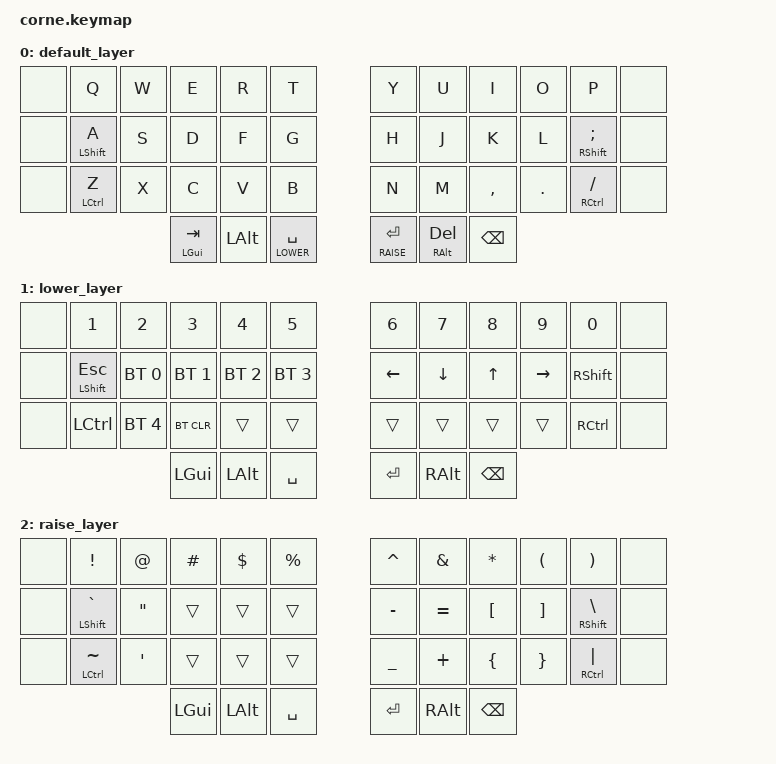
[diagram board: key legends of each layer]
/*
 * Copyright (c) 2020 The ZMK Contributors
 *
 * SPDX-License-Identifier: MIT
 */

#include <behaviors.dtsi>
#include <dt-bindings/zmk/keys.h>
#include <dt-bindings/zmk/bt.h>

// &mt HOLD TAP

#define DEFAULT 0
#define LOWER   1
#define RAISE   2

/ {
        keymap {
                compatible = "zmk,keymap";

                default_layer {
// --------------------------------------------------------------------------------
// |      |  Q  |  W  |  E  |  R  |  T  |   |  Y  |  U   |  I  |  O  |  P  |      |
// |      |  A  |  S  |  D  |  F  |  G  |   |  Z  |  J   |  K  |  L  |  ;  |      |
// |      |  Z  |  X  |  C  |  V  |  B  |   |  N  |  M   |  ,  |  .  |  /  |      |
//                    | GUI | ALT | SPC |   | ENT | ALT  | FN |
                        bindings = <
   &none &kp Q        &kp W &kp E        &kp R     &kp T              &kp Y         &kp U        &kp I         &kp O   &kp P                &none
   &none &mt LSHIFT A &kp S &kp D        &kp F     &kp G              &kp H         &kp J        &kp K         &kp L   &mt RSHIFT SEMI      &none
   &none &mt LCTRL  Z &kp X &kp C        &kp V     &kp B              &kp N         &kp M        &kp COMMA     &kp DOT &mt RCTRL  FSLH      &none
                            &mt LGUI TAB &kp LALT  &lt LOWER SPACE    &lt RAISE RET &mt RALT DEL &kp BSPC
                        >;
                };
                lower_layer {
// -------------------------------------------------------------------------------
// |      |  1  |  2  |  3  |  4  |  5  |   |  6  |  7  |  8  |  9  |  0  |      |
// |      | ESC | BT1 | BT2 | BT3 | BT4 |   | LFT | DWN |  UP | RGT |     |      |
// |      |     | BT5 |BTCLR|     |     |   |     |     |     |     |     |      |
//                    | GUI |     | SPC |   | ENT | ALT | FN  |
                        bindings = <
   &none  &kp N1         &kp N2       &kp N3       &kp N4       &kp N5          &kp N6   &kp N7   &kp N8   &kp N9    &kp N0     &none
   &none  &mt LSHIFT ESC &bt BT_SEL 0 &bt BT_SEL 1 &bt BT_SEL 2 &bt BT_SEL 3    &kp LEFT &kp DOWN &kp UP   &kp RIGHT &kp RSHIFT &none
   &none  &kp LCTRL      &bt BT_SEL 4 &bt BT_CLR   &trans       &trans          &trans   &trans   &trans   &trans    &kp RCTRL  &none
                                      &kp LGUI     &kp LALT     &kp SPACE       &kp RET  &kp RALT &kp BSPC
                        >;
                };

                raise_layer {
// -----------------------------------------------------------------------------------------
// |      |  !  |  @  |  #  |  $  |  %  |   |  ^  |  &  |  *  |  (  |  )  |      |
// |      |  `  |  '' |     |     |     |   |  -  |  =  |  [  |  ]  |  \  |      |
// |      |  ~  |  '  |     |     |     |   |  _  |  +  |  {  |  }  | "|" |      |
//                    | GUI |     | SPC |   | ENT | ALT | FN  |
                        bindings = <
   &none &kp EXCL         &kp AT  &kp HASH &kp DLLR &kp PRCNT      &kp CARET &kp AMPS  &kp ASTERISK  &kp LPAR &kp RPAR        &none
   &none &mt LSHIFT GRAVE &kp DQT &trans   &trans   &trans         &kp MINUS &kp EQUAL &kp LBKT      &kp RBKT &mt RSHIFT BSLH &none
   &none &mt LCTRL  TILDE &kp SQT &trans   &trans   &trans         &kp UNDER &kp PLUS  &kp LBRC      &kp RBRC &mt RCTRL  PIPE &none
                                  &kp LGUI &kp LALT &kp SPACE      &kp RET   &kp RALT  &kp BSPC
                        >;
                };
        };
};
